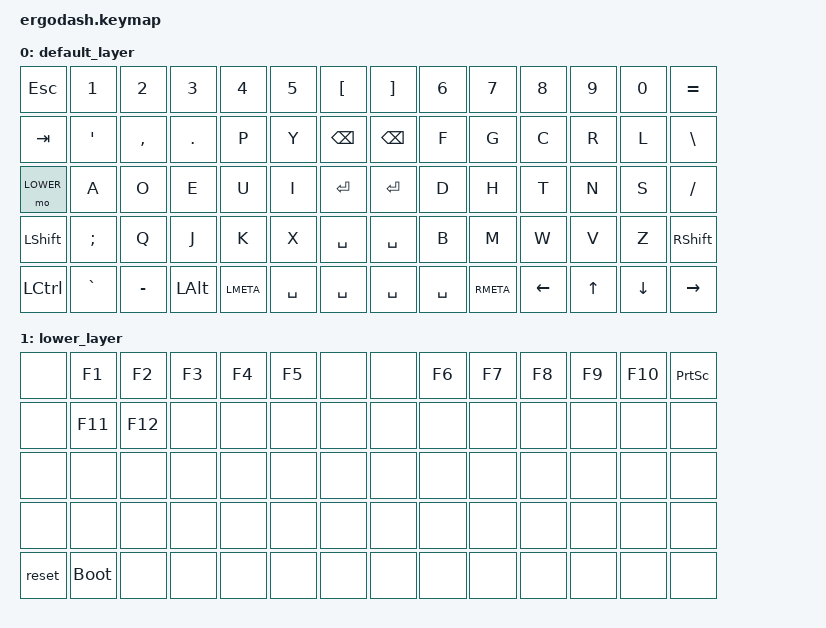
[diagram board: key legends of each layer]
/*
 * Copyright (c) 2020 The ZMK Contributors
 *
 * SPDX-License-Identifier: MIT
 */

#include <behaviors.dtsi>
#include <dt-bindings/zmk/keys.h>
#include <dt-bindings/zmk/bt.h>

#define DEFAULT 0
#define LOWER   1


/ {
        keymap {
                compatible = "zmk,keymap";

                default_layer {
/* Colemak
 * .----------------------------------------------------------------------------------------------------------------------.
 * |  `   |   1  |   2  |   3  |   4  |   5  |  [   |                    |  ]   |   6  |   7  |   8  |   9  |   0  | PScr |
 * |------+------+------+------+------+------+------+--------------------+------+------+------+------+------+------+------|
 * | ESC  |   Q  |   W  |   E  |   R  |   T  |  -   |                    |  =   |   Y  |   U  |   I  |   O  |   P  |  \   |
 * |------+------+------+------+------+------+------+--------------------+------+------+------+------+------+------+------|
 * | Tab  |   A  |   S  |   D  |   F  |   G  | Del  |                    | Bksp |   H  |   J  |   K  |   L  |   ;  |  '   |
 * |------+------+------+------+------+------+---------------------------+------+------+------+------+------+------+------|
 * | Shift|   Z  |   X  |   C  |   V  |   B  | End  |                    | Home |   N  |   M  |   ,  |   .  |   /  | Shift|
 * |-------------+------+------+------+------+------+------+------+------+------+------+------+------+------+-------------|
 * | Ctrl |      | PGDN | Win  |||||||| Alt  | Space| Lower|||||||| Raise| Enter| RAlt ||||||||      | PGUP | Ins  | RCtrl|
 * .----------------------------------------------------------------------------------------------------------------------.
 */
                        bindings = <
&kp  ESC      &kp  N1       &kp  N2       &kp  N3       &kp  N4       &kp  N5       &kp  LBKT              &kp  RBKT     &kp  N6       &kp  N7       &kp  N8       &kp  N9       &kp  N0       &kp  EQUAL
&kp  TAB      &kp  SQT      &kp  COMMA    &kp  DOT      &kp  P        &kp  Y        &kp  BSPC              &kp  BSPC     &kp  F        &kp  G        &kp  C        &kp  R        &kp  L        &kp  BSLH
&mo  LOWER    &kp  A        &kp  O        &kp  E        &kp  U        &kp  I        &kp  RET               &kp  RET      &kp  D        &kp  H        &kp  T        &kp  N        &kp  S        &kp  FSLH
&kp  LSHFT    &kp  SEMI     &kp  Q        &kp  J        &kp  K        &kp  X        &kp  SPACE             &kp  SPACE    &kp  B        &kp  M        &kp  W        &kp  V        &kp  Z        &kp  RSHFT
&kp  LCTRL    &kp  GRAVE    &kp  MINUS    &kp  LALT     &kp  LMETA    &kp  SPACE    &kp  SPACE             &kp  SPACE    &kp  SPACE    &kp  RMETA    &kp  LEFT     &kp  UP       &kp  DOWN     &kp  RIGHT
                        >;
                };
                lower_layer {
/* .----------------------------------------------------------------------------------------------------------------------.
 * |  F11 |  F1  |  F2  |  F3  |  F4  |  F5  |      |                    |      |  F6  |  F7  |  F8  |  F9  |  F10 |  F12 |
 * |------+------+------+------+------+------+------+--------------------+------+------+------+------+------+------+------|
 * |      |      |      |      |      |      |      |                    |      |      |      |      |      |      |      |
 * |------+------+------+------+------+------+------+--------------------+------+------+------+------+------+------+------|
 * |      |      |      |      |      |      |      |                    |      |      |      |      |      |      |      |
 * |------+------+------+------+------+------+---------------------------+------+------+------+------+------+------+------|
 * |      |      |      |      |      |      |      |                    |      |      |      |      |      |      |      |
 * |-------------+------+------+------+------+------+------+------+------+------+------+------+------+------+-------------|
 * | REST | BOOT |      |      |      |      |      |      |      |      |      |      |      |      |      |      |      |
 * .----------------------------------------------------------------------------------------------------------------------.
 */
                        bindings = <
&none         &kp  F1       &kp  F2       &kp  F3       &kp  F4       &kp  F5       &none                  &none         &kp  F6       &kp  F7       &kp  F8       &kp  F9       &kp  F10      &kp  PSCRN
&none         &kp  F11      &kp  F12      &none         &none         &none         &none                  &none         &none         &none         &none         &none         &none         &none
&none         &none         &none         &none         &none         &none         &none                  &none         &none         &none         &none         &none         &none         &none
&none         &none         &none         &none         &none         &none         &none                  &none         &none         &none         &none         &none         &none         &none
&reset        &bootloader   &none         &none         &none         &none         &none                  &none         &none         &none         &none         &none         &none         &none
                        >;
                };
        };
};

